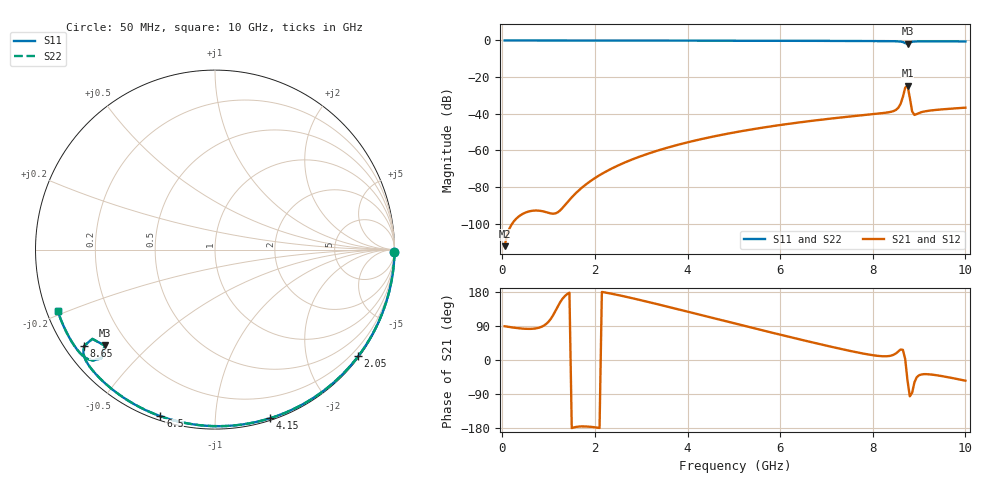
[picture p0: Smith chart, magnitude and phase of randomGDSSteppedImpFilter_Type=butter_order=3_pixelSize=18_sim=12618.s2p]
! freq	dB(S11)	phase(S11)	dB(S12)	phase(S12)
!  dB(S21)	phase(S21)	dB(S22)	phase(S22)
!S-par simulation data
#  GHz  S  DB  R 50
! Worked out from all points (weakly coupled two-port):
!   200 points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, 50 MHz to 10 GHz, reference 50 ohm
!   highest |S21| = -24.68 dB at 8.75 GHz (marker M1); lowest = -112.4 dB at 50 MHz (marker M2)
!   lowest |S11| = -1.8 dB at 8.75 GHz (marker M3), VSWR 9.76, Z = 5.83 - j18.4 ohm
!   |S11| at or under -10 dB: nowhere
!   |S22| runs from -1.8 to 0.0 dB; largest |S21 - S12| = 0
!   S11 on the Smith chart (normalised r, x): 50 MHz: open; 2.05 GHz: 0.03, -3.01; 4.15 GHz: 0.02, -1.38; 6.5 GHz: 0.02, -0.72; 8.65 GHz: 0.06, -0.33; 10 GHz: 0.03, -0.19
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0.05  -0.00 -0.9  -112.38 89.0  -112.38 89.0  -0.00 -0.9
0.85  -0.02 -15.4  -93.19 87.8  -93.19 87.8  -0.02 -15.4
1.75  -0.04 -31.5  -79.78 -175.2  -79.78 -175.2  -0.04 -31.5
2.05  -0.05 -36.7  -74.38 -178.4  -74.38 -178.4  -0.05 -36.7
2.65  -0.06 -47.1  -66.62 167.4  -66.62 167.4  -0.06 -47.1
3.4  -0.08 -59.7  -59.81 145.8  -59.81 145.8  -0.08 -59.7
4.15  -0.10 -72.0  -54.75 123.0  -54.75 123.0  -0.10 -72.0
5.05  -0.13 -86.2  -50.06 95.5  -50.06 95.5  -0.13 -86.2
6.5  -0.20 -108.2  -44.49 52.1  -44.49 52.1  -0.20 -108.2
6.7  -0.22 -111.1  -43.86 46.4  -43.86 46.4  -0.22 -111.1
8.35  -0.38 -136.3  -39.20 10.4  -39.20 10.4  -0.39 -136.3
8.45  -0.42 -138.2  -38.56 13.8  -38.56 13.8  -0.42 -138.2
8.55  -0.51 -140.5  -36.84 22.4  -36.84 22.4  -0.51 -140.6
8.6  -0.62 -142.0  -34.71 27.6  -34.71 27.6  -0.62 -142.0
8.65  -0.87 -143.6  -30.87 26.7  -30.87 26.7  -0.88 -143.7
8.7  -1.45 -144.0  -25.80 2.8  -25.80 2.8  -1.47 -143.9
8.75  -1.79 -139.1  -24.68 -54.1  -24.68 -54.1  -1.78 -138.9
8.8  -1.16 -136.3  -31.32 -95.8  -31.32 -95.8  -1.15 -136.3
8.85  -0.73 -137.7  -38.75 -86.5  -38.75 -86.5  -0.73 -137.7
8.9  -0.57 -139.4  -40.69 -58.8  -40.69 -58.8  -0.57 -139.4
9.2  -0.45 -145.9  -38.43 -37.6  -38.43 -37.6  -0.45 -145.9
10  -0.53 -158.6  -36.72 -54.6  -36.72 -54.6  -0.53 -158.6
